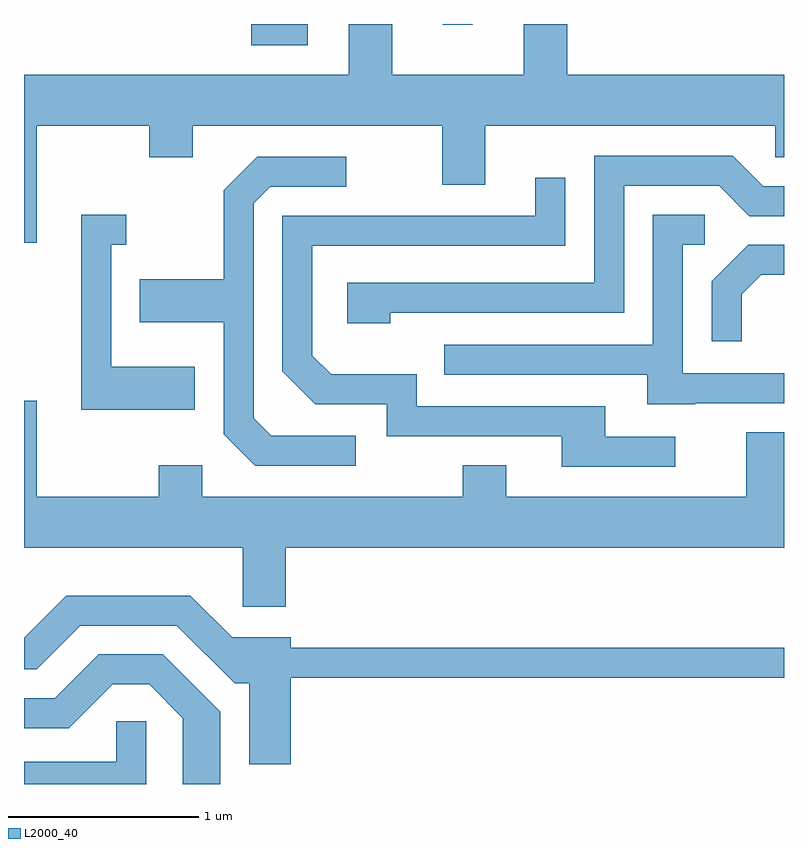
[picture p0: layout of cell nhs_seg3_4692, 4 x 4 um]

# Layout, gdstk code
import gdstk
lib = gdstk.Library(unit=1e-6, precision=1e-09)
def R(c, l, rs):  # rectangles x0, y0, x1, y1
    for r in rs: c.add(gdstk.rectangle(r[:2], r[2:], *l))
def P(c, l, *ps):  # polygons
    for p in ps: c.add(gdstk.Polygon(p, *l))
L2000_40 = (2000, 40)

nhs_seg3_4692 = lib.new_cell('nhs_seg3_4692')
R(nhs_seg3_4692, L2000_40, [(324.806,1119.781,325.104,1119.892), (325.816,1119.888,325.974,1119.892)])
P(nhs_seg3_4692, L2000_40, [(323.679,1119.356),(324.271,1119.356),(324.271,1119.191),(324.499,1119.191),(324.499,1119.356),(325.811,1119.356),(325.811,1119.046),(326.039,1119.046),(326.039,1119.356),(327.566,1119.356),(327.566,1119.191),(327.611,1119.191),(327.611,1119.624),(326.469,1119.624),(326.469,1119.892),(326.241,1119.892),(326.241,1119.624),(325.549,1119.624),(325.549,1119.892),(325.321,1119.892),(325.321,1119.624),(323.611,1119.624),(323.611,1118.741),(323.679,1118.741)],
  [(325.539,1118.371),(326.769,1118.371),(326.769,1119.041),(327.269,1119.041),(327.429,1118.881),(327.611,1118.881),(327.611,1119.039),(327.502,1119.039),(327.342,1119.199),(326.611,1119.199),(326.611,1118.529),(325.311,1118.529),(325.311,1118.316),(325.539,1118.316)],
  [(325.358,1117.724),(324.912,1117.724),(324.819,1117.817),(324.819,1118.949),(324.907,1119.036),(325.308,1119.036),(325.308,1119.194),(324.839,1119.194),(324.661,1119.017),(324.661,1118.549),(324.221,1118.549),(324.221,1118.321),(324.661,1118.321),(324.661,1117.734),(324.829,1117.566),(325.358,1117.566)],
  [(327.038,1117.719),(326.669,1117.719),(326.669,1117.879),(325.679,1117.879),(325.679,1118.049),(325.227,1118.049),(325.129,1118.147),(325.129,1118.726),(326.459,1118.726),(326.459,1119.083),(326.301,1119.083),(326.301,1118.884),(324.971,1118.884),(324.971,1118.064),(325.144,1117.891),(325.521,1117.891),(325.521,1117.721),(326.441,1117.721),(326.441,1117.561),(327.038,1117.561)],
  [(324.509,1118.089),(324.069,1118.089),(324.069,1118.731),(324.148,1118.731),(324.148,1118.889),(323.911,1118.889),(323.911,1117.861),(324.509,1117.861)],
  [(327.145,1117.896),(327.611,1117.896),(327.611,1118.054),(327.079,1118.054),(327.079,1118.731),(327.193,1118.731),(327.193,1118.889),(326.921,1118.889),(326.921,1118.204),(325.823,1118.204),(325.823,1118.046),(326.891,1118.046),(326.891,1117.891),(327.145,1117.891)],
  [(327.389,1118.469),(327.492,1118.571),(327.611,1118.571),(327.611,1118.729),(327.424,1118.729),(327.231,1118.537),(327.231,1118.223),(327.389,1118.223)],
  [(324.989,1117.136),(327.611,1117.136),(327.611,1117.744),(327.411,1117.744),(327.411,1117.404),(326.149,1117.404),(326.149,1117.569),(325.921,1117.569),(325.921,1117.404),(324.549,1117.404),(324.549,1117.569),(324.321,1117.569),(324.321,1117.404),(323.679,1117.404),(323.679,1117.909),(323.611,1117.909),(323.611,1117.136),(324.761,1117.136),(324.761,1116.826),(324.989,1116.826)],
  [(325.014,1116.451),(327.611,1116.451),(327.611,1116.609),(325.014,1116.609),(325.014,1116.664),(324.707,1116.664),(324.487,1116.884),(323.834,1116.884),(323.611,1116.661),(323.611,1116.496),(323.677,1116.496),(323.907,1116.726),(324.414,1116.726),(324.719,1116.421),(324.796,1116.421),(324.796,1115.996),(325.014,1115.996)],
  [(324.644,1116.272),(324.342,1116.574),(324.004,1116.574),(323.774,1116.344),(323.611,1116.344),(323.611,1116.186),(323.847,1116.186),(324.077,1116.416),(324.269,1116.416),(324.446,1116.239),(324.446,1115.892),(324.644,1115.892)],
  [(324.254,1116.223),(324.096,1116.223),(324.096,1116.009),(323.611,1116.009),(323.611,1115.892),(324.254,1115.892)])

lib.write_gds('nhs_seg3_4692.gds')
